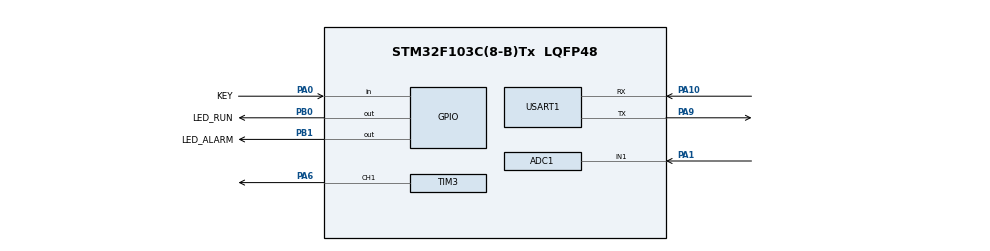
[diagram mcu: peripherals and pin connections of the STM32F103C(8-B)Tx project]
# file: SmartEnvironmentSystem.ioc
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ADC1.Channel-0\#ChannelRegularConversion=ADC_CHANNEL_1
ADC1.NbrOfConversionFlag=1
ADC1.Rank-0\#ChannelRegularConversion=1
ADC1.SamplingTime-0\#ChannelRegularConversion=ADC_SAMPLETIME_55CYCLES_5
ADC1.master=1
FREERTOS.Tasks01=defaultTask,24,128,StartDefaultTask,Default,NULL,Dynamic,NULL,NULL;SensorTask,24,512,Sensor_Task,Default,NULL,Dynamic,NULL,NULL;ControlTask,32,512,Control_Task,Default,NULL,Dynamic,NULL,NULL;UartTask,24,768,Uart_Task,Default,NULL,Dynamic,NULL,NULL;KeyTask,8,512,Key_Task,Default,NULL,Dynamic,NULL,NULL;MonitorTask,8,512,Monitor_Task,Default,NULL,Dynamic,NULL,NULL
Mcu.Family=STM32F1
Mcu.Name=STM32F103C(8-B)Tx
Mcu.Package=LQFP48
NVIC.PriorityGroup=NVIC_PRIORITYGROUP_4
PA0-WKUP.GPIO_Label=KEY
PA0-WKUP.Signal=GPIO_Input
PA1.Signal=ADCx_IN1
PA10.Mode=Asynchronous
PA10.Signal=USART1_RX
PA6.Signal=S_TIM3_CH1
PA9.Mode=Asynchronous
PA9.Signal=USART1_TX
PB0.GPIO_Label=LED_RUN
PB0.Signal=GPIO_Output
PB1.GPIO_Label=LED_ALARM
PB1.Signal=GPIO_Output
ProjectManager.HeapSize=0x200
ProjectManager.StackSize=0x400
ProjectManager.TargetToolchain=CMake
RCC.APB1Freq_Value=8000000
RCC.APB2Freq_Value=8000000
SH.ADCx_IN1.0=ADC1_IN1,IN1
SH.S_TIM3_CH1.0=TIM3_CH1,PWM Generation1 CH1
TIM3.Channel-PWM\ Generation1\ CH1=TIM_CHANNEL_1
TIM3.Period=999
TIM3.Prescaler=7
USART1.VirtualMode=VM_ASYNC
VP_FREERTOS_VS_CMSIS_V2.Mode=CMSIS_V2
VP_SYS_VS_ND.Mode=No_Debug
VP_TIM3_VS_ClockSourceINT.Mode=Internal
board=custom

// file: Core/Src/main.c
/* USER CODE BEGIN Header */
/**
  ******************************************************************************
  * @file           : main.c
  * @brief          : Main program body
  ******************************************************************************
  * @attention
  *
  * Copyright (c) 2026 STMicroelectronics.
  * All rights reserved.
  *
  * This software is licensed under terms that can be found in the LICENSE file
  * in the root directory of this software component.
  * If no LICENSE file comes with this software, it is provided AS-IS.
  *
  ******************************************************************************
  */
/* USER CODE END Header */
#include "main.h"
#include "cmsis_os2.h"
#include "stm32f1xx_hal_def.h"
#include "stm32f1xx_hal_gpio.h"
#include <string.h>

/* USER CODE BEGIN Includes */
#include "app_tasks.h"
#include "bsp_pwm.h"
#include "app_protocol.h"
#include "FreeRTOS.h"
#include "portable.h"
/* USER CODE END Includes */

/* USER CODE BEGIN PTD */
// 故障记录，那个有问题
typedef enum
{
    APP_INIT_OK = 0,

    APP_INIT_ERR_SENSOR_QUEUE,
    APP_INIT_ERR_COMMAND_QUEUE,

    APP_INIT_ERR_SENSOR_TASK,
    APP_INIT_ERR_CONTROL_TASK,
    APP_INIT_ERR_UART_TASK,
    APP_INIT_ERR_KEY_TASK,
    APP_INIT_ERR_MONITOR_TASK

} AppInitError_t;

/* USER CODE END PTD */

ADC_HandleTypeDef hadc1;

TIM_HandleTypeDef htim3;

UART_HandleTypeDef huart1;

/* Definitions for SensorTask */
osThreadId_t SensorTaskHandle;
const osThreadAttr_t SensorTask_attributes = {
  .name = "SensorTask",
  .stack_size = 384,
  .priority = (osPriority_t) osPriorityNormal,
};
/* Definitions for ControlTask */
osThreadId_t ControlTaskHandle;
const osThreadAttr_t ControlTask_attributes = {
  .name = "ControlTask",
  .stack_size = 512,
  .priority = (osPriority_t) osPriorityNormal,
};
/* Definitions for UartTask */
osThreadId_t UartTaskHandle;
const osThreadAttr_t UartTask_attributes = {
  .name = "UartTask",
  .stack_size = 1536,
  .priority = (osPriority_t) osPriorityNormal,
};
/* Definitions for KeyTask */
osThreadId_t KeyTaskHandle;
const osThreadAttr_t KeyTask_attributes = {
  .name = "KeyTask",
  .stack_size = 256,
  .priority = (osPriority_t) osPriorityNormal,
};
/* Definitions for MonitorTask */
osThreadId_t MonitorTaskHandle;
const osThreadAttr_t MonitorTask_attributes = {
  .name = "MonitorTask",
  .stack_size = 768,
  .priority = (osPriority_t) osPriorityLow,
};

/* USER CODE BEGIN PV */
extern volatile uint32_t sensor_count;
extern volatile uint32_t control_count;
extern volatile uint32_t uart_count;
extern volatile uint32_t key_count;
extern volatile uint32_t monitor_count;

/* 初始化故障记录 */
volatile AppInitError_t g_app_init_error = APP_INIT_OK;

/* 故障发生时的 Heap 信息 */
volatile uint32_t g_heap_free_at_error = 0;
volatile uint32_t g_heap_min_free_at_error = 0;

/* IWDG 看门狗句柄 */
IWDG_HandleTypeDef hiwdg;

/* ================= 系统复位原因记录 ================= *
/* 保存启动时的 RCC 复位标志 */
volatile uint32_t g_reset_flags_snapshot = 0;

/* 是否由 IWDG 引起复位 */
volatile uint8_t g_iwdg_reset_detected = 0;
/* USER CODE END PV */

void SystemClock_Config(void);
static void MX_GPIO_Init(void);
static void MX_ADC1_Init(void);
static void MX_TIM3_Init(void);
static void MX_USART1_UART_Init(void);
void StartDefaultTask(void *argument);
void Sensor_Task(void *argument);
void Control_Task(void *argument);
void Uart_Task(void *argument);
void Key_Task(void *argument);
void Monitor_Task(void *argument);

/* USER CODE BEGIN 0 */
// 记录故障函数
static void App_RecordInitFault(AppInitError_t error)
{
    /* 记录故障类型 */
    g_app_init_error = error;

    /* 记录故障发生时的 Heap */
    g_heap_free_at_error =
        (uint32_t)xPortGetFreeHeapSize();

    g_heap_min_free_at_error =
        (uint32_t)xPortGetMinimumEverFreeHeapSize();

    /* 停止系统 */
    Error_Handler();
}

/* IWDG 初始化函数
  IWDG使用内部LSI时钟，40khz
  超时时间 = （（Reload + 1） * Prescaler） / F_lsi
  （3125 * 64） / 40000 = 5s
*/
void App_IWDG_Init(void)
{
    /* 选择独立看门狗 */
    hiwdg.Instance = IWDG;

    /* 设置预分频系数 */
    hiwdg.Init.Prescaler = IWDG_PRESCALER_64;

    /* 设置重装载值 */
    hiwdg.Init.Reload = 3124;

    /* 初始化并启动看门狗 */
    if (HAL_IWDG_Init(&hiwdg) != HAL_OK)
    {
        Error_Handler();
    }
}

/* IWDG 喂狗函数 */
void App_IWDG_Refresh(void)
{
    HAL_IWDG_Refresh(&hiwdg);
}
/* USER CODE END 0 */

int main(void)
{

  /* MCU Configuration--------------------------------------------------------*/

  /* Reset of all peripherals, Initializes the Flash interface and the Systick. */
  HAL_Init();

  /* USER CODE BEGIN Init */
  /* 保存启动时的复位标志 */
  g_reset_flags_snapshot = RCC->CSR;

  /* 判断是否为 IWDG 复位 */
  if (__HAL_RCC_GET_FLAG(RCC_FLAG_IWDGRST) != RESET)
  {
      g_iwdg_reset_detected = 1;
  }
  else
  {
      g_iwdg_reset_detected = 0;
  }

  /* 清除复位标志，避免下次启动误判 */
  __HAL_RCC_CLEAR_RESET_FLAGS();
  /* USER CODE END Init */

  /* Configure the system clock */
  SystemClock_Config();

  /* Initialize all configured peripherals */
  MX_GPIO_Init();
  MX_ADC1_Init();
  MX_TIM3_Init();
  MX_USART1_UART_Init();

  BSP_PWM_Init();

  /* Init scheduler */
  osKernelInitialize();

  /* USER CODE BEGIN RTOS_QUEUES */
  /* add queues, ... */
  /* 创建传感器消息队列 */
  SensorQueueHandle = osMessageQueueNew(
      8,
      sizeof(SensorData_t),
      NULL
  );

  /* 检查消息队列是否创建成功 */
  if (SensorQueueHandle == NULL)
  {
      App_RecordInitFault(APP_INIT_ERR_SENSOR_QUEUE);
  }
  /* 创建串口命令消息队列 */
  CommandQueueHandle = osMessageQueueNew(
      8,
      sizeof(AppCommand_t),
      NULL
  );
  /* 检查命令队列是否创建成功 */
  if (CommandQueueHandle == NULL)
  {
      App_RecordInitFault(APP_INIT_ERR_COMMAND_QUEUE);
  }

  /* USER CODE END RTOS_QUEUES */

  /* Create the thread(s) */
  /* creation of SensorTask */
  SensorTaskHandle = osThreadNew(Sensor_Task, NULL, &SensorTask_attributes);
  if(SensorTaskHandle == NULL)
  {
    App_RecordInitFault(APP_INIT_ERR_SENSOR_TASK);
  }

  /* creation of ControlTask */
  ControlTaskHandle = osThreadNew(Control_Task, NULL, &ControlTask_attributes);
  if(ControlTaskHandle == NULL)
  {
    App_RecordInitFault(APP_INIT_ERR_CONTROL_TASK);
  }

  /* creation of UartTask */
  UartTaskHandle = osThreadNew(Uart_Task, NULL, &UartTask_attributes);
  if(UartTaskHandle == NULL)
  {
    App_RecordInitFault(APP_INIT_ERR_UART_TASK);
  }

  /* creation of KeyTask */
  KeyTaskHandle = osThreadNew(Key_Task, NULL, &KeyTask_attributes);
  if(KeyTaskHandle == NULL)
  {
    App_RecordInitFault(APP_INIT_ERR_KEY_TASK);
  }

  /* creation of MonitorTask */
  MonitorTaskHandle = osThreadNew(Monitor_Task, NULL, &MonitorTask_attributes);
  if(MonitorTaskHandle == NULL)
  {
    App_RecordInitFault(APP_INIT_ERR_MONITOR_TASK);
  }

  // 启动独立看门狗
  App_IWDG_Init();

  /* Start scheduler */
  osKernelStart();

  // 点亮RUN灯
  // HAL_GPIO_WritePin(GPIOB, LED_RUN_Pin, GPIO_PIN_SET);

  /* We should never get here as control is now taken by the scheduler */

  /* Infinite loop */
  while (1)
  {

  }
}

void SystemClock_Config(void)
{
  RCC_OscInitTypeDef RCC_OscInitStruct = {0};
  RCC_ClkInitTypeDef RCC_ClkInitStruct = {0};
  RCC_PeriphCLKInitTypeDef PeriphClkInit = {0};

  /** Initializes the RCC Oscillators according to the specified parameters
  * in the RCC_OscInitTypeDef structure.
  */
  RCC_OscInitStruct.OscillatorType = RCC_OSCILLATORTYPE_HSI;
  RCC_OscInitStruct.HSIState = RCC_HSI_ON;
  RCC_OscInitStruct.HSICalibrationValue = RCC_HSICALIBRATION_DEFAULT;
  RCC_OscInitStruct.PLL.PLLState = RCC_PLL_NONE;
  if (HAL_RCC_OscConfig(&RCC_OscInitStruct) != HAL_OK)
  {
    Error_Handler();
  }

  /** Initializes the CPU, AHB and APB buses clocks
  */
  RCC_ClkInitStruct.ClockType = RCC_CLOCKTYPE_HCLK|RCC_CLOCKTYPE_SYSCLK
                              |RCC_CLOCKTYPE_PCLK1|RCC_CLOCKTYPE_PCLK2;
  RCC_ClkInitStruct.SYSCLKSource = RCC_SYSCLKSOURCE_HSI;
  RCC_ClkInitStruct.AHBCLKDivider = RCC_SYSCLK_DIV1;
  RCC_ClkInitStruct.APB1CLKDivider = RCC_HCLK_DIV1;
  RCC_ClkInitStruct.APB2CLKDivider = RCC_HCLK_DIV1;

  if (HAL_RCC_ClockConfig(&RCC_ClkInitStruct, FLASH_LATENCY_0) != HAL_OK)
  {
    Error_Handler();
  }
  PeriphClkInit.PeriphClockSelection = RCC_PERIPHCLK_ADC;
  PeriphClkInit.AdcClockSelection = RCC_ADCPCLK2_DIV2;
  if (HAL_RCCEx_PeriphCLKConfig(&PeriphClkInit) != HAL_OK)
  {
    Error_Handler();
  }
}

static void MX_ADC1_Init(void)
{

  ADC_ChannelConfTypeDef sConfig = {0};

  /** Common config
  */
  hadc1.Instance = ADC1;
  hadc1.Init.ScanConvMode = ADC_SCAN_DISABLE;
  hadc1.Init.ContinuousConvMode = DISABLE;
  hadc1.Init.DiscontinuousConvMode = DISABLE;
  hadc1.Init.ExternalTrigConv = ADC_SOFTWARE_START;
  hadc1.Init.DataAlign = ADC_DATAALIGN_RIGHT;
  hadc1.Init.NbrOfConversion = 1;
  if (HAL_ADC_Init(&hadc1) != HAL_OK)
  {
    Error_Handler();
  }

  /** Configure Regular Channel
  */
  sConfig.Channel = ADC_CHANNEL_1;
  sConfig.Rank = ADC_REGULAR_RANK_1;
  sConfig.SamplingTime = ADC_SAMPLETIME_55CYCLES_5;
  if (HAL_ADC_ConfigChannel(&hadc1, &sConfig) != HAL_OK)
  {
    Error_Handler();
  }

}

static void MX_TIM3_Init(void)
{

  TIM_ClockConfigTypeDef sClockSourceConfig = {0};
  TIM_MasterConfigTypeDef sMasterConfig = {0};
  TIM_OC_InitTypeDef sConfigOC = {0};

  htim3.Instance = TIM3;
  htim3.Init.Prescaler = 7;
  htim3.Init.CounterMode = TIM_COUNTERMODE_UP;
  htim3.Init.Period = 999;
  htim3.Init.ClockDivision = TIM_CLOCKDIVISION_DIV1;
  htim3.Init.AutoReloadPreload = TIM_AUTORELOAD_PRELOAD_DISABLE;
  if (HAL_TIM_Base_Init(&htim3) != HAL_OK)
  {
    Error_Handler();
  }
  sClockSourceConfig.ClockSource = TIM_CLOCKSOURCE_INTERNAL;
  if (HAL_TIM_ConfigClockSource(&htim3, &sClockSourceConfig) != HAL_OK)
  {
    Error_Handler();
  }
  if (HAL_TIM_PWM_Init(&htim3) != HAL_OK)
  {
    Error_Handler();
  }
  sMasterConfig.MasterOutputTrigger = TIM_TRGO_RESET;
  sMasterConfig.MasterSlaveMode = TIM_MASTERSLAVEMODE_DISABLE;
  if (HAL_TIMEx_MasterConfigSynchronization(&htim3, &sMasterConfig) != HAL_OK)
  {
    Error_Handler();
  }
  sConfigOC.OCMode = TIM_OCMODE_PWM1;
  sConfigOC.Pulse = 0;
  sConfigOC.OCPolarity = TIM_OCPOLARITY_HIGH;
  sConfigOC.OCFastMode = TIM_OCFAST_DISABLE;
  if (HAL_TIM_PWM_ConfigChannel(&htim3, &sConfigOC, TIM_CHANNEL_1) != HAL_OK)
  {
    Error_Handler();
  }
  HAL_TIM_MspPostInit(&htim3);

}

static void MX_USART1_UART_Init(void)
{

  huart1.Instance = USART1;
  huart1.Init.BaudRate = 115200;
  huart1.Init.WordLength = UART_WORDLENGTH_8B;
  huart1.Init.StopBits = UART_STOPBITS_1;
  huart1.Init.Parity = UART_PARITY_NONE;
  huart1.Init.Mode = UART_MODE_TX_RX;
  huart1.Init.HwFlowCtl = UART_HWCONTROL_NONE;
  huart1.Init.OverSampling = UART_OVERSAMPLING_16;
  if (HAL_UART_Init(&huart1) != HAL_OK)
  {
    Error_Handler();
  }

}

static void MX_GPIO_Init(void)
{
  GPIO_InitTypeDef GPIO_InitStruct = {0};

  /* GPIO Ports Clock Enable */
  __HAL_RCC_GPIOA_CLK_ENABLE();
  __HAL_RCC_GPIOB_CLK_ENABLE();

  /*Configure GPIO pin Output Level */
  HAL_GPIO_WritePin(GPIOB, LED_RUN_Pin|LED_ALARM_Pin, GPIO_PIN_RESET);

  /*Configure GPIO pin : KEY_Pin */
  GPIO_InitStruct.Pin = KEY_Pin;
  GPIO_InitStruct.Mode = GPIO_MODE_INPUT;
  GPIO_InitStruct.Pull = GPIO_PULLUP;
  HAL_GPIO_Init(KEY_GPIO_Port, &GPIO_InitStruct);

  /*Configure GPIO pins : LED_RUN_Pin LED_ALARM_Pin */
  GPIO_InitStruct.Pin = LED_RUN_Pin|LED_ALARM_Pin;
  GPIO_InitStruct.Mode = GPIO_MODE_OUTPUT_PP;
  GPIO_InitStruct.Pull = GPIO_NOPULL;
  GPIO_InitStruct.Speed = GPIO_SPEED_FREQ_LOW;
  HAL_GPIO_Init(GPIOB, &GPIO_InitStruct);

}

void Sensor_Task(void *argument)
{
  /* USER CODE BEGIN Sensor_Task */
  App_SensorTask(argument);
  /* USER CODE END Sensor_Task */
}

void Control_Task(void *argument)
{
  /* USER CODE BEGIN Control_Task */
  App_ControlTask(argument);
  /* USER CODE END Control_Task */
}

void Uart_Task(void *argument)
{
  /* USER CODE BEGIN Uart_Task */
  App_UartTask(argument);
  /* USER CODE END Uart_Task */
}

void Key_Task(void *argument)
{
  /* USER CODE BEGIN Key_Task */
  App_KeyTask(argument);
  /* USER CODE END Key_Task */
}

void Monitor_Task(void *argument)
{
  /* USER CODE BEGIN Monitor_Task */
  App_MonitorTask(argument);
  /* USER CODE END Monitor_Task */
}

void Error_Handler(void)
{
  /* USER CODE BEGIN Error_Handler_Debug */
  /* User can add his own implementation to report the HAL error return state */
  HAL_GPIO_WritePin(LED_RUN_GPIO_Port, LED_RUN_Pin, GPIO_PIN_SET);
  __disable_irq();
  while (1)
  {
  }
  /* USER CODE END Error_Handler_Debug */
}
